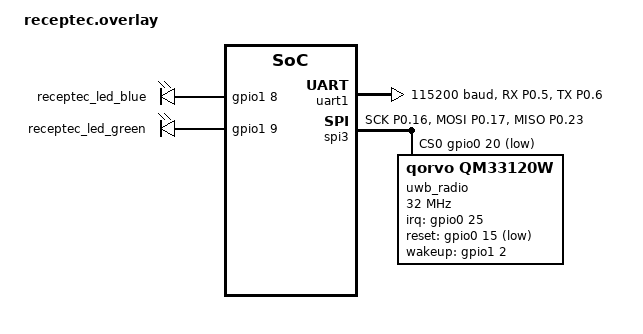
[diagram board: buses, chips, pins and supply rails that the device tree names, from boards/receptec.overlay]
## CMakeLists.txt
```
# SPDX-License-Identifier: Apache-2.0

cmake_minimum_required(VERSION 3.20.0)

list(APPEND BOARD_ROOT ${CMAKE_CURRENT_SOURCE_DIR}/../..)
set(DTC_OVERLAY_FILE "${CMAKE_CURRENT_SOURCE_DIR}/boards/receptec.overlay")

find_package(Zephyr REQUIRED HINTS $ENV{ZEPHYR_BASE})
project(receptec)

target_include_directories(app PRIVATE include)
target_sources(app PRIVATE
    src/main.c
    src/uwb_protocol.c
    src/uwb_peer_registry.c
    src/uwb_peer_storage.c
    src/dw3720_spi.c
    src/uwb_test_result.c
    src/uwb_test_frames.c
    src/uwb_test_payload.c
    src/uwb_radio.c
    src/uwb_shell.c
    ${CMAKE_CURRENT_SOURCE_DIR}/../../vendor/qorvo/deca_interface.c
    ${CMAKE_CURRENT_SOURCE_DIR}/../../vendor/qorvo/deca_compat.c
    ${CMAKE_CURRENT_SOURCE_DIR}/../../vendor/qorvo/deca_rsl.c
    ${CMAKE_CURRENT_SOURCE_DIR}/../../vendor/qorvo/dw3000/dw3000_device.c
    ${CMAKE_CURRENT_SOURCE_DIR}/../../vendor/qorvo/dw3720/dw3720_device.c
    ${CMAKE_CURRENT_SOURCE_DIR}/../../vendor/qorvo/lib/qmath/src/qmath.c
)

target_compile_definitions(app PRIVATE USE_DRV_DW3000 USE_DRV_DW3720)
target_include_directories(app PRIVATE
    ${CMAKE_CURRENT_SOURCE_DIR}/../../vendor/qorvo
    ${CMAKE_CURRENT_SOURCE_DIR}/../../vendor/qorvo/dw3000
    ${CMAKE_CURRENT_SOURCE_DIR}/../../vendor/qorvo/dw3720
    ${CMAKE_CURRENT_SOURCE_DIR}/../../vendor/qorvo/lib/qmath/include
)

set_source_files_properties(
    ${CMAKE_CURRENT_SOURCE_DIR}/../../vendor/qorvo/deca_interface.c
    ${CMAKE_CURRENT_SOURCE_DIR}/../../vendor/qorvo/deca_compat.c
    ${CMAKE_CURRENT_SOURCE_DIR}/../../vendor/qorvo/deca_rsl.c
    ${CMAKE_CURRENT_SOURCE_DIR}/../../vendor/qorvo/dw3000/dw3000_device.c
    ${CMAKE_CURRENT_SOURCE_DIR}/../../vendor/qorvo/dw3720/dw3720_device.c
    ${CMAKE_CURRENT_SOURCE_DIR}/../../vendor/qorvo/lib/qmath/src/qmath.c
    PROPERTIES COMPILE_FLAGS
    "-Wno-unused-parameter -Wno-sign-compare -Wno-missing-field-initializers"
)
```

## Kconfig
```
# SPDX-License-Identifier: Apache-2.0

mainmenu "RECEPTEC firmware"

config RECEPTEC_UWB_RADIO
	bool "Initialize the QM33120W radio and enable UWB peer/SYNC shell"
	default n
	help
	  Initialize the QM33120W/DW3720 over SPI and configure the shared
	  RECEPTEC/COLETEC v1.0 PHY. The `uwb peer` shell commands manage the
	  volatile four-slot software allow-list; `uwb sync <slot>` sends one
	  addressed SYNC and waits for the matching ACK. It does not autostart RF.

source "Kconfig.zephyr"
```

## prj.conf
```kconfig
# SPDX-License-Identifier: Apache-2.0

CONFIG_GPIO=y
CONFIG_SPI=y
CONFIG_HWINFO=y
CONFIG_SERIAL=y
CONFIG_CONSOLE=y
CONFIG_UART_CONSOLE=n
CONFIG_USE_SEGGER_RTT=y
CONFIG_RTT_CONSOLE=y
CONFIG_SHELL=y
CONFIG_SHELL_BACKEND_SERIAL=n
CONFIG_SHELL_BACKEND_RTT=y
CONFIG_PRINTK=y
CONFIG_RECEPTEC_UWB_RADIO=y
CONFIG_MAIN_STACK_SIZE=4096
CONFIG_ENTROPY_GENERATOR=y
CONFIG_FLASH=y
CONFIG_FLASH_MAP=y
CONFIG_FLASH_PAGE_LAYOUT=y
CONFIG_NVS=y
CONFIG_SETTINGS=y
CONFIG_SETTINGS_NVS=y
```

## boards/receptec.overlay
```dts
/* SPDX-License-Identifier: Apache-2.0 */

/* RECEPTEC carrier uses the Murata LBUA5QJ2AB-828 (nRF52840 + QM33120W). */

/* Pi GPIO14/TXD0 -> P0.05 (nRF RX); Pi GPIO15/RXD0 <- P0.06 (nRF TX). */
&gpiote {
	status = "okay";
};

&gpio0 {
	status = "okay";
};

&gpio1 {
	status = "okay";
};

&uart1 {
	status = "okay";
	current-speed = <115200>;
	pinctrl-0 = <&receptec_uart_default>;
	pinctrl-1 = <&receptec_uart_sleep>;
	pinctrl-names = "default", "sleep";
};

/ {
	chosen {
		zephyr,console = &uart1;
		zephyr,shell-uart = &uart1;
	};

	/*
	 * On-board LEDs (Projeto Receptor, sheet 4). Each is switched by a BC847 NPN
	 * transistor whose base is the nRF pin, so the pin drives them active high.
	 */
	leds {
		compatible = "gpio-leds";

		receptec_led_blue: led_blue {
			gpios = <&gpio1 8 GPIO_ACTIVE_HIGH>;
		};

		receptec_led_green: led_green {
			gpios = <&gpio1 9 GPIO_ACTIVE_HIGH>;
		};
	};
};

&pinctrl {
	receptec_uart_default: receptec_uart_default {
		group1 {
			psels = <NRF_PSEL(UART_RX, 0, 5)>,
				<NRF_PSEL(UART_TX, 0, 6)>;
		};
	};

	receptec_uart_sleep: receptec_uart_sleep {
		group1 {
			psels = <NRF_PSEL(UART_RX, 0, 5)>,
				<NRF_PSEL(UART_TX, 0, 6)>;
			low-power-enable;
		};
	};

	receptec_uwb_spi_default: receptec_uwb_spi_default {
		group1 {
			psels = <NRF_PSEL(SPIM_SCK, 0, 16)>,
				<NRF_PSEL(SPIM_MOSI, 0, 17)>,
				<NRF_PSEL(SPIM_MISO, 0, 23)>;
		};
	};

	receptec_uwb_spi_sleep: receptec_uwb_spi_sleep {
		group1 {
			psels = <NRF_PSEL(SPIM_SCK, 0, 16)>,
				<NRF_PSEL(SPIM_MOSI, 0, 17)>,
				<NRF_PSEL(SPIM_MISO, 0, 23)>;
			low-power-enable;
		};
	};
};

&spi2 {
	status = "disabled";
};

&spi3 {
	status = "okay";
	compatible = "nordic,nrf-spim";
	pinctrl-0 = <&receptec_uwb_spi_default>;
	pinctrl-1 = <&receptec_uwb_spi_sleep>;
	pinctrl-names = "default", "sleep";
	cs-gpios = <&gpio0 20 GPIO_ACTIVE_LOW>;

	uwb_radio: qm33120w@0 {
		compatible = "qorvo,qm33120w";
		reg = <0>;
		spi-max-frequency = <32000000>;
		irq-gpios = <&gpio0 25 GPIO_ACTIVE_HIGH>;
		reset-gpios = <&gpio0 15 GPIO_ACTIVE_LOW>;
		wakeup-gpios = <&gpio1 2 GPIO_ACTIVE_HIGH>;
	};
};
```

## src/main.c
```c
/* SPDX-License-Identifier: Apache-2.0 */

#include <zephyr/devicetree.h>
#include <zephyr/drivers/gpio.h>
#include <zephyr/drivers/hwinfo.h>
#include <zephyr/kernel.h>
#include <zephyr/sys/printk.h>

#include <stdint.h>

#include "uwb_radio.h"

/*
 * Blue LED (D300): solid once the firmware has booted. Green LED (D301): toggles
 * from a timer, so it only blinks while the kernel is running; 1 Hz after the UWB
 * radio initialized (or was disabled), 5 Hz if its initialization failed.
 */
static const struct gpio_dt_spec led_blue = GPIO_DT_SPEC_GET(DT_NODELABEL(receptec_led_blue), gpios);
static const struct gpio_dt_spec led_green = GPIO_DT_SPEC_GET(DT_NODELABEL(receptec_led_green), gpios);

static void heartbeat_expired(struct k_timer *timer)
{
	ARG_UNUSED(timer);
	(void)gpio_pin_toggle_dt(&led_green);
}

static K_TIMER_DEFINE(heartbeat_timer, heartbeat_expired, NULL);

static void indicators_start(k_timeout_t half_period)
{
	if (gpio_is_ready_dt(&led_blue) && gpio_is_ready_dt(&led_green) &&
	    gpio_pin_configure_dt(&led_blue, GPIO_OUTPUT_ACTIVE) == 0 &&
	    gpio_pin_configure_dt(&led_green, GPIO_OUTPUT_INACTIVE) == 0) {
		k_timer_start(&heartbeat_timer, half_period, half_period);
	} else {
		printk("Status LEDs unavailable\n");
	}
}

int main(void)
{
	uint8_t id[8];
	k_timeout_t heartbeat = K_MSEC(500);
	ssize_t length = hwinfo_get_device_id(id, sizeof(id));

	printk("RECEPTEC Type2AB baseline\n");
	printk("UARTE1: Pi GPIO14/15, 115200 8N1\n");
	if (length == (ssize_t)sizeof(id)) {
		printk("nRF ID:");
		for (size_t i = 0U; i < sizeof(id); ++i) {
			printk("%s%02X", i == 0U ? " " : ":", id[i]);
		}
		printk("\n");
	} else {
		printk("nRF ID unavailable: %d\n", (int)length);
	}
#if defined(CONFIG_RECEPTEC_UWB_RADIO)
	int ret = receptec_uwb_radio_init();
	if (ret == 0) {
		printk("UWB radio: initialized; use 'uwb peer list' and 'uwb sync <slot>'\n");
	} else {
		printk("UWB radio initialization failed: %d\n", ret);
		heartbeat = K_MSEC(100);
	}
#else
	printk("UWB radio: disabled by configuration\n");
#endif
	indicators_start(heartbeat);
	return 0;
}
```

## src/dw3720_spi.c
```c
/*
 * SPDX-License-Identifier: Apache-2.0
 *
 * DW3720/QM33120W SPI Communication & Porting Layer
 *
 * Phase 1: Device detection via SPI register read.
 * Phase 2A: Full dwt_spi_s porting layer for Qorvo dwt_uwb_driver.
 *
 * Implements the 5 SPI function pointers required by struct dwt_spi_s
 * (deca_interface.h). Initialization uses Zephyr's SPI API. At the configured
 * fast rate, the exclusive UWB owner uses a polling SPIM EasyDMA transfer to
 * avoid a scheduler round trip for each small timing-critical register access.
 * See the UWB_SPIM comment below for why both transports exist.
 */

#include "dw3720_spi.h"
#include <zephyr/kernel.h>
#include <zephyr/device.h>
#include <zephyr/devicetree.h>
#include <zephyr/drivers/spi.h>
#include <zephyr/drivers/gpio.h>
#include <zephyr/sys/printk.h>
#include <zephyr/irq.h>
#include <hal/nrf_spim.h>
#include <string.h>

#include "deca_device_api.h"

/* DW3xxx SPI register addresses */
#define DW3XXX_REG_DEV_ID  0x00  /* Device ID register (4 bytes, read-only) */

/* DW3xxx SPI framing: bit 7 of first byte = R/W (0=read, 1=write) */
#define DW3XXX_SPI_READ    0x00
#define DW3XXX_SPI_WRITE   0x80

/* Reset timing (from Qorvo SDK qplatform_uwb_reset) */
#define RESET_ASSERT_MS    1   /* Hold RESET low for 1ms */
#define RESET_RECOVER_MS   5   /* Wait 5ms after releasing RESET */

/* Max SPI transaction size (header + body). SDK uses up to ~255 bytes. */
#define SPI_BUF_MAX        256

/* SPI frequency definitions */
#define SPI_FREQ_SLOW      2000000U   /* 2 MHz — safe for post-reset (<7 MHz) */
#define SPI_FREQ_FAST      DT_PROP(UWB_NODE, spi_max_frequency)

/* UWB radio child node on the high-speed SPIM bus */
#define UWB_NODE DT_NODELABEL(uwb_radio)

#if DT_NODE_EXISTS(UWB_NODE)

/*
 * Two SPI transports share this file, and both are needed:
 *
 *   - Zephyr's SPI API (spi_transceive/spi_write) for the post-reset window,
 *     where the DW3xxx requires < 7 MHz, and for the pre-init device-ID read.
 *   - polling_spi_transfer(), driving the SPIM registers directly at the DT
 *     fast rate, for the hot path. The UWB slot budget is measured in µs
 *     (see uwb_stats last_irq_to_arm_us), which is why the hot path does not
 *     go through the driver.
 *
 * dw3720_setslowrate()/dw3720_setfastrate() flip between them.
 *
 * The register path used to hardcode NRF_SPIM3, which only worked because the
 * Atletec overlay happens to put the radio on &spi3. Derive it from the DT bus
 * instead, so moving the radio moves the register writes with it.
 */
#define UWB_SPIM ((NRF_SPIM_Type *)DT_REG_ADDR(DT_BUS(UWB_NODE)))

/*
 * The register path programs TXD/RXD.PTR and MAXCNT — EasyDMA, which only the
 * SPIM peripheral has. A radio placed on a legacy "nordic,nrf-spi" bus would
 * compile and then write to reserved addresses.
 */
BUILD_ASSERT(DT_NODE_HAS_COMPAT(DT_BUS(UWB_NODE), nordic_nrf_spim),
	     "UWB radio must sit on a nordic,nrf-spim bus: the polling transport "
	     "drives EasyDMA registers directly.");

/* Common SPI operation flags */
#define SPI_OP_FLAGS (SPI_OP_MODE_CONTROLLER | SPI_WORD_SET(8) | SPI_TRANSFER_MSB)

/*
 * SPI DT spec — MUST be const (Zephyr device refs are compile-time constants).
 * Used directly for Phase 1 detection reads.
 */
static const struct spi_dt_spec spi_dev = SPI_DT_SPEC_GET(
	UWB_NODE,
	SPI_OP_FLAGS
);

/*
 * Runtime copy of SPI config for the porting layer.
 * Initialized from spi_dev.config in dw3720_spi_init(), then frequency
 * can be swapped between slow (SPI_FREQ_SLOW) and fast (SPI_FREQ_FAST, taken
 * from the node's spi-max-frequency — 32 MHz on the Atletec board).
 */
static struct spi_config active_spi_cfg;

/* GPIO specs from devicetree */
static const struct gpio_dt_spec reset_gpio =
	GPIO_DT_SPEC_GET(UWB_NODE, reset_gpios);
static const struct gpio_dt_spec wakeup_gpio =
	GPIO_DT_SPEC_GET(UWB_NODE, wakeup_gpios);
static const struct gpio_dt_spec irq_gpio =
	GPIO_DT_SPEC_GET(UWB_NODE, irq_gpios);
static const struct gpio_dt_spec cs_gpio =
	SPI_CS_GPIOS_DT_SPEC_GET(UWB_NODE);

static struct gpio_callback irq_callback;
static K_SEM_DEFINE(irq_sem, 0, 1);
static volatile uint32_t last_irq_cycles;
static bool gpio_initialized;
static bool polling_spi_enabled;

/* Static TX/RX buffers for SPI transactions (avoid stack allocation) */
static uint8_t spi_tx_buf[SPI_BUF_MAX];
static uint8_t spi_rx_buf[SPI_BUF_MAX];

static int polling_spi_transfer(uint8_t *tx_buffer, uint8_t *rx_buffer,
				uint16_t length)
{
	uint32_t spins = 0U;

	UWB_SPIM->INTENCLR = UINT32_MAX;
	UWB_SPIM->EVENTS_END = 0U;
	UWB_SPIM->TXD.PTR = (uint32_t)(uintptr_t)tx_buffer;
	UWB_SPIM->TXD.MAXCNT = length;
	if (rx_buffer != NULL) {
		UWB_SPIM->RXD.PTR = (uint32_t)(uintptr_t)rx_buffer;
		UWB_SPIM->RXD.MAXCNT = length;
	} else {
		UWB_SPIM->RXD.PTR = 0U;
		UWB_SPIM->RXD.MAXCNT = 0U;
	}
	gpio_pin_set_dt(&cs_gpio, 1);
	__DMB();
	UWB_SPIM->TASKS_START = 1U;
	while (UWB_SPIM->EVENTS_END == 0U) {
		if (++spins >= 100000U) {
			UWB_SPIM->TASKS_STOP = 1U;
			gpio_pin_set_dt(&cs_gpio, 0);
			return -ETIMEDOUT;
		}
	}
	gpio_pin_set_dt(&cs_gpio, 0);
	return 0;
}

static void irq_gpio_handler(const struct device *port,
			     struct gpio_callback *callback,
			     gpio_port_pins_t pins)
{
	ARG_UNUSED(port);
	ARG_UNUSED(callback);
	ARG_UNUSED(pins);

	last_irq_cycles = k_cycle_get_32();
	k_sem_give(&irq_sem);
}

int dw3720_spi_init(void)
{
	int ret;

	if (gpio_initialized) {
		return 0;
	}

	if (!spi_is_ready_dt(&spi_dev)) {
		printk("DW3720: SPI bus not ready\n");
		return -ENODEV;
	}

	/* Copy SPI config from DT spec for runtime frequency switching */
	memcpy(&active_spi_cfg, &spi_dev.config, sizeof(active_spi_cfg));
	active_spi_cfg.frequency = SPI_FREQ_SLOW; /* Start slow (<7 MHz) */
	polling_spi_enabled = false;

	if (!gpio_is_ready_dt(&cs_gpio)) {
		printk("DW3720: CS GPIO not ready\n");
		return -ENODEV;
	}
	ret = gpio_pin_configure_dt(&cs_gpio, GPIO_OUTPUT_INACTIVE);
	if (ret < 0) {
		printk("DW3720: CS GPIO config failed (%d)\n", ret);
		return ret;
	}

	/* Configure RESET as output (initially deasserted = high/inactive) */
	if (!gpio_is_ready_dt(&reset_gpio)) {
		printk("DW3720: RESET GPIO not ready\n");
		return -ENODEV;
	}
	ret = gpio_pin_configure_dt(&reset_gpio, GPIO_OUTPUT_INACTIVE);
	if (ret < 0) {
		printk("DW3720: RESET GPIO config failed (%d)\n", ret);
		return ret;
	}

	/* Configure WAKEUP as output (initially low = not waking) */
	if (!gpio_is_ready_dt(&wakeup_gpio)) {
		printk("DW3720: WAKEUP GPIO not ready\n");
		return -ENODEV;
	}
	ret = gpio_pin_configure_dt(&wakeup_gpio, GPIO_OUTPUT_INACTIVE);
	if (ret < 0) {
		printk("DW3720: WAKEUP GPIO config failed (%d)\n", ret);
		return ret;
	}

	/* Configure IRQ now; the protocol owner enables the edge after radio setup. */
	if (!gpio_is_ready_dt(&irq_gpio)) {
		printk("DW3720: IRQ GPIO not ready\n");
		return -ENODEV;
	}
	ret = gpio_pin_configure_dt(&irq_gpio, GPIO_INPUT);
	if (ret < 0) {
		printk("DW3720: IRQ GPIO config failed (%d)\n", ret);
		return ret;
	}
	ret = gpio_pin_interrupt_configure_dt(&irq_gpio, GPIO_INT_DISABLE);
	if (ret < 0) {
		printk("DW3720: IRQ disable failed (%d)\n", ret);
		return ret;
	}
	k_sem_reset(&irq_sem);
	gpio_init_callback(&irq_callback, irq_gpio_handler, BIT(irq_gpio.pin));
	ret = gpio_add_callback(irq_gpio.port, &irq_callback);
	if (ret < 0) {
		printk("DW3720: IRQ callback failed (%d)\n", ret);
		return ret;
	}

	gpio_initialized = true;
	return 0;
}

int dw3720_hw_reset(void)
{
	if (!gpio_initialized) {
		return -EINVAL;
	}

	/* Assert RESET (active-low: set pin to logical active = drive low) */
	gpio_pin_set_dt(&reset_gpio, 1);
	k_msleep(RESET_ASSERT_MS);

	/* Release RESET (deassert = high-Z / high) */
	gpio_pin_set_dt(&reset_gpio, 0);
	k_msleep(RESET_RECOVER_MS);

	return 0;
}

/**
 * @brief Read a 4-byte register from DW3xxx via SPI
 *
 * DW3xxx fast-command SPI read protocol (short header):
 *   TX: [addr | 0x00]  (1 byte: address with bit7=0 for read)
 *   RX: [dummy][D0][D1][D2][D3]  (1 dummy + 4 data bytes, little-endian)
 */
static int dw3720_spi_read_reg32(uint8_t addr, uint32_t *value)
{
	int ret;

	uint8_t tx_buf[1] = { addr | DW3XXX_SPI_READ };
	uint8_t rx_buf[5] = { 0 };  /* 1 dummy + 4 data bytes */

	const struct spi_buf tx_bufs[] = {
		{ .buf = tx_buf, .len = sizeof(tx_buf) },
	};
	const struct spi_buf rx_bufs[] = {
		{ .buf = rx_buf, .len = sizeof(rx_buf) },
	};

	const struct spi_buf_set tx_set = {
		.buffers = tx_bufs,
		.count = 1,
	};
	const struct spi_buf_set rx_set = {
		.buffers = rx_bufs,
		.count = 1,
	};

	ret = spi_transceive_dt(&spi_dev, &tx_set, &rx_set);
	if (ret < 0) {
		return ret;
	}

	/* Data starts at rx_buf[1] (first byte is clocked during TX phase) */
	*value = (uint32_t)rx_buf[1] |
		 ((uint32_t)rx_buf[2] << 8) |
		 ((uint32_t)rx_buf[3] << 16) |
		 ((uint32_t)rx_buf[4] << 24);

	return 0;
}

int dw3720_read_dev_id(uint32_t *dev_id)
{
	int ret;

	if (!dev_id) {
		return -EINVAL;
	}

	/* Reset chip to known state */
	ret = dw3720_hw_reset();
	if (ret < 0) {
		return ret;
	}

	/* Read Device ID register (address 0x00) */
	ret = dw3720_spi_read_reg32(DW3XXX_REG_DEV_ID, dev_id);
	if (ret < 0) {
		return ret;
	}

	/* Validate: 0x00000000 or 0xFFFFFFFF means no device / SPI fault */
	if (*dev_id == 0x00000000 || *dev_id == 0xFFFFFFFF) {
		return -ENODEV;
	}

	return 0;
}

const char *dw3720_dev_id_str(uint32_t id)
{
	switch (id) {
	case DW3720_DEV_ID_QM33120W:
		return "QM33120W";
	case DW3720_DEV_ID_DW3000P:
		return "DW3000 PDOA";
	case DW3720_DEV_ID_QM33110:
		return "QM33110";
	case DW3720_DEV_ID_DW3000:
		return "DW3000";
	default:
		return "Unknown";
	}
}

/* =============================================================================
 * Qorvo dwt_spi_s Porting Layer
 *
 * These functions implement the 5 function pointers in struct dwt_spi_s
 * from deca_interface.h. The Qorvo driver calls them for all SPI I/O.
 * =============================================================================
 */

/**
 * readfromspi — SDK sends header bytes, expects readlength data bytes back.
 *
 * The SDK provides the SPI header (1-3 bytes) in headerBuffer.
 * We send the header and simultaneously read back (headerLength + readlength)
 * bytes. The read data starts at offset headerLength in the RX buffer.
 *
 * Returns 0 (DWT_SUCCESS) on success, -1 (DWT_ERROR) on failure.
 */
int32_t dw3720_readfromspi(uint16_t headerLength, uint8_t *headerBuffer,
			    uint16_t readlength, uint8_t *readBuffer)
{
	uint32_t total = (uint32_t)headerLength + readlength;

	if (total > SPI_BUF_MAX) {
		return -1; /* DWT_ERROR */
	}

	/* Build TX buffer: header + dummy bytes for the read phase */
	memcpy(spi_tx_buf, headerBuffer, headerLength);
	memset(spi_tx_buf + headerLength, 0x00, readlength);

	int ret;

	if (polling_spi_enabled) {
		ret = polling_spi_transfer(spi_tx_buf, spi_rx_buf, total);
	} else {
		const struct spi_buf tx_bufs[] = {
			{ .buf = spi_tx_buf, .len = total },
		};
		const struct spi_buf rx_bufs[] = {
			{ .buf = spi_rx_buf, .len = total },
		};
		const struct spi_buf_set tx_set = {
			.buffers = tx_bufs,
			.count = 1,
		};
		const struct spi_buf_set rx_set = {
			.buffers = rx_bufs,
			.count = 1,
		};

		ret = spi_transceive(spi_dev.bus, &active_spi_cfg,
				     &tx_set, &rx_set);
	}
	if (ret < 0) {
		return -1; /* DWT_ERROR */
	}

	/* Copy read data (skip the header echo bytes) */
	memcpy(readBuffer, spi_rx_buf + headerLength, readlength);
	return 0; /* DWT_SUCCESS */
}

/**
 * writetospi — SDK sends header + body as one SPI write transaction.
 *
 * Returns 0 (DWT_SUCCESS) on success, -1 (DWT_ERROR) on failure.
 */
int32_t dw3720_writetospi(uint16_t headerLength, const uint8_t *headerBuffer,
			   uint16_t bodyLength, const uint8_t *bodyBuffer)
{
	uint32_t total = (uint32_t)headerLength + bodyLength;

	if (total > SPI_BUF_MAX) {
		return -1;
	}
	if (polling_spi_enabled) {
		memcpy(spi_tx_buf, headerBuffer, headerLength);
		memcpy(spi_tx_buf + headerLength, bodyBuffer, bodyLength);
		return polling_spi_transfer(spi_tx_buf, NULL, total) < 0 ?
			-1 : 0;
	}

	/* Use two SPI buffers in one transaction — no copy needed */
	const struct spi_buf tx_bufs[] = {
		{ .buf = (uint8_t *)headerBuffer, .len = headerLength },
		{ .buf = (uint8_t *)bodyBuffer,   .len = bodyLength },
	};

	const struct spi_buf_set tx_set = { .buffers = tx_bufs, .count = 2 };

	int ret = spi_write(spi_dev.bus, &active_spi_cfg, &tx_set);
	return (ret < 0) ? -1 : 0;
}

/**
 * writetospiwithcrc — Same as writetospi but appends a CRC8 byte.
 *
 * Returns 0 (DWT_SUCCESS) on success, -1 (DWT_ERROR) on failure.
 */
int32_t dw3720_writetospiwithcrc(uint16_t headerLength, const uint8_t *headerBuffer,
				  uint16_t bodyLength, const uint8_t *bodyBuffer,
				  uint8_t crc8)
{
	uint8_t crc_byte = crc8;
	uint32_t total = (uint32_t)headerLength + bodyLength + 1U;

	if (total > SPI_BUF_MAX) {
		return -1;
	}
	if (polling_spi_enabled) {
		memcpy(spi_tx_buf, headerBuffer, headerLength);
		memcpy(spi_tx_buf + headerLength, bodyBuffer, bodyLength);
		spi_tx_buf[headerLength + bodyLength] = crc8;
		return polling_spi_transfer(spi_tx_buf, NULL, total) < 0 ?
			-1 : 0;
	}

	const struct spi_buf tx_bufs[] = {
		{ .buf = (uint8_t *)headerBuffer, .len = headerLength },
		{ .buf = (uint8_t *)bodyBuffer,   .len = bodyLength },
		{ .buf = &crc_byte,               .len = 1 },
	};

	const struct spi_buf_set tx_set = { .buffers = tx_bufs, .count = 3 };

	int ret = spi_write(spi_dev.bus, &active_spi_cfg, &tx_set);
	return (ret < 0) ? -1 : 0;
}

/**
 * setslowrate — Switch SPI to slow rate (2 MHz).
 * Used after reset / before init when DW3xxx requires < 7 MHz.
 */
void dw3720_setslowrate(void)
{
	polling_spi_enabled = false;
	active_spi_cfg.frequency = SPI_FREQ_SLOW;
}

/**
 * setfastrate — Switch SPI to the DeviceTree fast rate.
 * Used after driver init completes for normal operation.
 */
void dw3720_setfastrate(void)
{
	active_spi_cfg.frequency = SPI_FREQ_FAST;
	UWB_SPIM->FREQUENCY = SPIM_FREQUENCY_FREQUENCY_M32;
	UWB_SPIM->INTENCLR = UINT32_MAX;
	polling_spi_enabled = true;
}

/* =============================================================================
 * Platform Helpers
 * =============================================================================
 */

/**
 * Wakeup device by toggling the WAKEUP pin high for ~500us.
 * Called by Qorvo driver (via probe_interf.wakeup_device_with_io).
 */
void wakeup_device_with_io(void)
{
	if (!gpio_initialized) {
		return;
	}
	gpio_pin_set_dt(&wakeup_gpio, 1);
	k_busy_wait(500); /* 500 us */
	gpio_pin_set_dt(&wakeup_gpio, 0);
}

int dw3720_irq_enable(bool enable)
{
	if (!gpio_initialized) {
		return -EACCES;
	}

	return gpio_pin_interrupt_configure_dt(
		&irq_gpio, enable ? GPIO_INT_EDGE_TO_ACTIVE : GPIO_INT_DISABLE);
}

void dw3720_irq_clear(void)
{
	k_sem_reset(&irq_sem);
}

int dw3720_wait_event(k_timeout_t timeout)
{
	int active;

	if (!gpio_initialized) {
		return -EACCES;
	}
	active = gpio_pin_get_dt(&irq_gpio);
	if (active < 0) {
		return active;
	}
	if (active != 0) {
		return 0;
	}
	return k_sem_take(&irq_sem, timeout);
}

void dw3720_wake_owner(void)
{
	k_sem_give(&irq_sem);
}

uint32_t dw3720_last_irq_cycles(void)
{
	return last_irq_cycles;
}

#else /* !DT_NODE_EXISTS(UWB_NODE) */

/* Stubs when UWB radio node is not in devicetree (e.g., DK build) */

int dw3720_spi_init(void)
{
	printk("DW3720: No UWB node in devicetree\n");
	return -ENOTSUP;
}

int dw3720_hw_reset(void)
{
	return -ENOTSUP;
}

int dw3720_read_dev_id(uint32_t *dev_id)
{
	if (dev_id) {
		*dev_id = 0;
	}
	return -ENOTSUP;
}

const char *dw3720_dev_id_str(uint32_t id)
{
	return "Unknown";
}

int32_t dw3720_readfromspi(uint16_t headerLength, uint8_t *headerBuffer,
			    uint16_t readlength, uint8_t *readBuffer)
{
	return -1;
}

int32_t dw3720_writetospi(uint16_t headerLength, const uint8_t *headerBuffer,
			   uint16_t bodyLength, const uint8_t *bodyBuffer)
{
	return -1;
}

int32_t dw3720_writetospiwithcrc(uint16_t headerLength, const uint8_t *headerBuffer,
				  uint16_t bodyLength, const uint8_t *bodyBuffer,
				  uint8_t crc8)
{
	return -1;
}

void dw3720_setslowrate(void) { }
void dw3720_setfastrate(void) { }
void wakeup_device_with_io(void) { }
int dw3720_irq_enable(bool enable)
{
	ARG_UNUSED(enable);
	return -ENOTSUP;
}
void dw3720_irq_clear(void) { }
int dw3720_wait_event(k_timeout_t timeout)
{
	ARG_UNUSED(timeout);
	return -ENOTSUP;
}
void dw3720_wake_owner(void) { }
uint32_t dw3720_last_irq_cycles(void)
{
	return 0U;
}

#endif /* DT_NODE_EXISTS(UWB_NODE) */

/* =============================================================================
 * Platform functions required by Qorvo driver — always compiled
 * =============================================================================
 */

void deca_sleep(unsigned int time_ms)
{
	k_msleep(time_ms);
}

void deca_usleep(unsigned long time_us)
{
	k_busy_wait((uint32_t)time_us);
}

static K_MUTEX_DEFINE(dw_mutex);

decaIrqStatus_t decamutexon(void)
{
	k_mutex_lock(&dw_mutex, K_FOREVER);
	return 0;
}

void decamutexoff(decaIrqStatus_t s)
{
	ARG_UNUSED(s);
	k_mutex_unlock(&dw_mutex);
}
```

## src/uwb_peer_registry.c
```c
/* SPDX-License-Identifier: Apache-2.0 */

#include "uwb_peer_registry.h"

#include <errno.h>
#include <string.h>

int receptec_uwb_peer_registry_init(
	struct receptec_uwb_peer_registry *registry,
	const uint8_t local_eui64[RECEPTEC_UWB_EUI64_SIZE])
{
	if (registry == NULL || local_eui64 == NULL) {
		return -EINVAL;
	}

	memset(registry, 0, sizeof(*registry));
	memcpy(registry->local_eui64, local_eui64,
	       RECEPTEC_UWB_EUI64_SIZE);
	return 0;
}

int receptec_uwb_peer_registry_register(
	struct receptec_uwb_peer_registry *registry, size_t slot,
	const uint8_t eui64[RECEPTEC_UWB_EUI64_SIZE])
{
	size_t i;
	size_t history_slot = RECEPTEC_UWB_PEER_HISTORY_CAPACITY;
	size_t free_history_slot = RECEPTEC_UWB_PEER_HISTORY_CAPACITY;

	if (registry == NULL || eui64 == NULL ||
	    slot >= RECEPTEC_UWB_MAX_PEERS) {
		return -EINVAL;
	}
	if (memcmp(eui64, registry->local_eui64,
		   RECEPTEC_UWB_EUI64_SIZE) == 0) {
		return -EADDRINUSE;
	}
	if (registry->slots[slot].registered) {
		return -EEXIST;
	}
	for (i = 0U; i < RECEPTEC_UWB_MAX_PEERS; ++i) {
		if (registry->slots[i].registered &&
		    memcmp(eui64, registry->slots[i].eui64,
			   RECEPTEC_UWB_EUI64_SIZE) == 0) {
			return -EADDRINUSE;
		}
	}
	for (i = 0U; i < RECEPTEC_UWB_PEER_HISTORY_CAPACITY; ++i) {
		if (!registry->history[i].used) {
			if (free_history_slot == RECEPTEC_UWB_PEER_HISTORY_CAPACITY) {
				free_history_slot = i;
			}
			continue;
		}
		if (memcmp(eui64, registry->history[i].eui64,
			   RECEPTEC_UWB_EUI64_SIZE) == 0) {
			history_slot = i;
			break;
		}
	}
	if (history_slot == RECEPTEC_UWB_PEER_HISTORY_CAPACITY) {
		if (free_history_slot == RECEPTEC_UWB_PEER_HISTORY_CAPACITY) {
			return -ENOSPC;
		}
		history_slot = free_history_slot;
		registry->history[history_slot].used = true;
		registry->history[history_slot].next_sequence = 1U;
		memcpy(registry->history[history_slot].eui64, eui64,
		       RECEPTEC_UWB_EUI64_SIZE);
	}
	memcpy(registry->slots[slot].eui64, eui64,
	       RECEPTEC_UWB_EUI64_SIZE);
	registry->slots[slot].registered = true;
	return 0;
}

int receptec_uwb_peer_registry_unregister(
	struct receptec_uwb_peer_registry *registry, size_t slot)
{
	if (registry == NULL || slot >= RECEPTEC_UWB_MAX_PEERS) {
		return -EINVAL;
	}
	if (!registry->slots[slot].registered) {
		return -ENOENT;
	}

	memset(&registry->slots[slot], 0, sizeof(registry->slots[slot]));
	return 0;
}

int receptec_uwb_peer_registry_get(
	const struct receptec_uwb_peer_registry *registry, size_t slot,
	uint8_t eui64[RECEPTEC_UWB_EUI64_SIZE])
{
	if (registry == NULL || eui64 == NULL ||
	    slot >= RECEPTEC_UWB_MAX_PEERS) {
		return -EINVAL;
	}
	if (!registry->slots[slot].registered) {
		return -ENOENT;
	}

	memcpy(eui64, registry->slots[slot].eui64,
	       RECEPTEC_UWB_EUI64_SIZE);
	return 0;
}

int receptec_uwb_peer_registry_next_sequence(
	struct receptec_uwb_peer_registry *registry, size_t slot,
	uint8_t *sequence)
{
	size_t i;

	if (registry == NULL || sequence == NULL ||
	    slot >= RECEPTEC_UWB_MAX_PEERS) {
		return -EINVAL;
	}
	if (!registry->slots[slot].registered) {
		return -ENOENT;
	}
	for (i = 0U; i < RECEPTEC_UWB_PEER_HISTORY_CAPACITY; ++i) {
		if (registry->history[i].used &&
		    memcmp(registry->history[i].eui64,
			   registry->slots[slot].eui64,
			   RECEPTEC_UWB_EUI64_SIZE) == 0) {
			*sequence = registry->history[i].next_sequence++;
			return 0;
		}
	}
	return -EIO;
}

int receptec_uwb_peer_registry_set_next_sequence(
	struct receptec_uwb_peer_registry *registry, size_t slot,
	uint8_t sequence)
{
	size_t i;

	if (registry == NULL || slot >= RECEPTEC_UWB_MAX_PEERS) {
		return -EINVAL;
	}
	if (!registry->slots[slot].registered) {
		return -ENOENT;
	}
	for (i = 0U; i < RECEPTEC_UWB_PEER_HISTORY_CAPACITY; ++i) {
		if (registry->history[i].used &&
		    memcmp(registry->history[i].eui64,
			   registry->slots[slot].eui64,
			   RECEPTEC_UWB_EUI64_SIZE) == 0) {
			registry->history[i].next_sequence = sequence;
			return 0;
		}
	}
	return -EIO;
}
```

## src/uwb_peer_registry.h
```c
/* SPDX-License-Identifier: Apache-2.0 */

#ifndef RECEPTEC_UWB_PEER_REGISTRY_H_
#define RECEPTEC_UWB_PEER_REGISTRY_H_

#include <stdbool.h>
#include <stddef.h>
#include <stdint.h>

#include <receptec/uwb_protocol.h>

#define RECEPTEC_UWB_MAX_PEERS 4U
#define RECEPTEC_UWB_PEER_HISTORY_CAPACITY 256U

struct receptec_uwb_peer_slot {
	bool registered;
	uint8_t eui64[RECEPTEC_UWB_EUI64_SIZE];
};

struct receptec_uwb_peer_history {
	bool used;
	uint8_t next_sequence;
	uint8_t eui64[RECEPTEC_UWB_EUI64_SIZE];
};

struct receptec_uwb_peer_registry {
	uint8_t local_eui64[RECEPTEC_UWB_EUI64_SIZE];
	struct receptec_uwb_peer_slot slots[RECEPTEC_UWB_MAX_PEERS];
	struct receptec_uwb_peer_history history[
		RECEPTEC_UWB_PEER_HISTORY_CAPACITY];
};

int receptec_uwb_peer_registry_init(
	struct receptec_uwb_peer_registry *registry,
	const uint8_t local_eui64[RECEPTEC_UWB_EUI64_SIZE]);
int receptec_uwb_peer_registry_register(
	struct receptec_uwb_peer_registry *registry, size_t slot,
	const uint8_t eui64[RECEPTEC_UWB_EUI64_SIZE]);
int receptec_uwb_peer_registry_unregister(
	struct receptec_uwb_peer_registry *registry, size_t slot);
int receptec_uwb_peer_registry_get(
	const struct receptec_uwb_peer_registry *registry, size_t slot,
	uint8_t eui64[RECEPTEC_UWB_EUI64_SIZE]);
int receptec_uwb_peer_registry_next_sequence(
	struct receptec_uwb_peer_registry *registry, size_t slot,
	uint8_t *sequence);

#endif /* RECEPTEC_UWB_PEER_REGISTRY_H_ */
```

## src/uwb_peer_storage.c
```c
/* SPDX-License-Identifier: Apache-2.0 */

#include "uwb_peer_storage.h"

#include <errno.h>
#include <stddef.h>

#include <zephyr/settings/settings.h>
#include <zephyr/sys/printk.h>

#define PEER_KEY_MAX_LEN 20U

static int make_peer_key(uint8_t slot, char key[PEER_KEY_MAX_LEN])
{
	int len;

	if (slot >= RECEPTEC_UWB_MAX_PEERS) {
		return -EINVAL;
	}

	len = snprintk(key, PEER_KEY_MAX_LEN,
		      "uwb/peer/%u", slot);

	if (len <= 0 || len >= (int)PEER_KEY_MAX_LEN) {
		return -ENOSPC;
	}

	return 0;
}

int receptec_uwb_peer_storage_init(void)
{
	return settings_subsys_init();
}

int receptec_uwb_peer_storage_load(
	uint8_t slot,
	uint8_t eui64[RECEPTEC_UWB_EUI64_SIZE])
{
	char key[PEER_KEY_MAX_LEN];
	ssize_t len;
	int ret;

	if (eui64 == NULL) {
		return -EINVAL;
	}

	ret = make_peer_key(slot, key);
	if (ret < 0) {
		return ret;
	}

	/*
	 * settings_get_val_len() retorna 0 quando a chave
	 * não existe.
	 */
	len = settings_get_val_len(key);

	if (len < 0) {
		return (int)len;
	}

	if (len == 0) {
		return -ENOENT;
	}

	if (len != RECEPTEC_UWB_EUI64_SIZE) {
		return -EINVAL;
	}

	len = settings_load_one(
		key,
		eui64,
		RECEPTEC_UWB_EUI64_SIZE);

	if (len < 0) {
		return (int)len;
	}

	if (len != RECEPTEC_UWB_EUI64_SIZE) {
		return -EIO;
	}

	return 0;
}

int receptec_uwb_peer_storage_save(
	uint8_t slot,
	const uint8_t eui64[RECEPTEC_UWB_EUI64_SIZE])
{
	char key[PEER_KEY_MAX_LEN];
	int ret;

	if (eui64 == NULL) {
		return -EINVAL;
	}

	ret = make_peer_key(slot, key);
	if (ret < 0) {
		return ret;
	}

	return settings_save_one(
		key,
		eui64,
		RECEPTEC_UWB_EUI64_SIZE);
}

int receptec_uwb_peer_storage_delete(uint8_t slot)
{
	char key[PEER_KEY_MAX_LEN];
	int ret;

	ret = make_peer_key(slot, key);
	if (ret < 0) {
		return ret;
	}

	return settings_delete(key);
}
```

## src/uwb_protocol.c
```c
/* SPDX-License-Identifier: Apache-2.0 */

#include <receptec/uwb_protocol.h>

#include <string.h>

#define DESTINATION_OFFSET 3U
#define SOURCE_OFFSET 11U
#define TYPE_OFFSET 19U

static int validate_payload(enum receptec_uwb_packet_type type,
			    size_t payload_length)
{
	switch (type) {
	case RECEPTEC_UWB_DATA_REQ:
	case RECEPTEC_UWB_SYNC:
		return payload_length == RECEPTEC_UWB_DT_SAMPLING_SIZE ?
			RECEPTEC_UWB_OK : RECEPTEC_UWB_ERR_LENGTH;
	case RECEPTEC_UWB_DATA:
		return payload_length <= RECEPTEC_UWB_MAX_PAYLOAD_SIZE ?
			RECEPTEC_UWB_OK : RECEPTEC_UWB_ERR_LENGTH;
	case RECEPTEC_UWB_ACK:
	case RECEPTEC_UWB_STOP:
	case RECEPTEC_UWB_STOP_ACK:
		return payload_length == 0U ? RECEPTEC_UWB_OK :
			RECEPTEC_UWB_ERR_LENGTH;
	default:
		return RECEPTEC_UWB_ERR_TYPE;
	}
}

int receptec_uwb_encode(uint8_t *output, size_t output_capacity,
			 const struct receptec_uwb_frame *frame,
			 size_t *encoded_length)
{
	size_t logical_length;
	int status;

	if (output == NULL || frame == NULL || encoded_length == NULL) {
		return RECEPTEC_UWB_ERR_ARGUMENT;
	}
	status = validate_payload(frame->type, frame->payload_length);
	if (status != RECEPTEC_UWB_OK) {
		return status;
	}
	if (frame->payload_length != 0U && frame->payload == NULL) {
		return RECEPTEC_UWB_ERR_ARGUMENT;
	}
	logical_length = RECEPTEC_UWB_HEADER_SIZE + frame->payload_length;
	if (output_capacity < logical_length) {
		return RECEPTEC_UWB_ERR_BUFFER_TOO_SMALL;
	}

	output[0] = RECEPTEC_UWB_FCF_LSB;
	output[1] = RECEPTEC_UWB_FCF_MSB;
	output[2] = frame->sequence;
	memcpy(&output[DESTINATION_OFFSET], frame->destination,
	       RECEPTEC_UWB_EUI64_SIZE);
	memcpy(&output[SOURCE_OFFSET], frame->source, RECEPTEC_UWB_EUI64_SIZE);
	output[TYPE_OFFSET] = (uint8_t)frame->type;
	if (frame->payload_length != 0U) {
		memcpy(&output[RECEPTEC_UWB_HEADER_SIZE], frame->payload,
		       frame->payload_length);
	}
	*encoded_length = logical_length;
	return RECEPTEC_UWB_OK;
}

int receptec_uwb_decode(const uint8_t *input, size_t input_length,
			 struct receptec_uwb_frame *frame)
{
	uint8_t type_byte;
	size_t payload_length;
	int status;

	if (input == NULL || frame == NULL) {
		return RECEPTEC_UWB_ERR_ARGUMENT;
	}
	if (input_length < RECEPTEC_UWB_HEADER_SIZE ||
	    input_length > RECEPTEC_UWB_MAX_LOGICAL_SIZE) {
		return RECEPTEC_UWB_ERR_LENGTH;
	}
	if (input[0] != RECEPTEC_UWB_FCF_LSB || input[1] != RECEPTEC_UWB_FCF_MSB) {
		return RECEPTEC_UWB_ERR_FCF;
	}
	type_byte = input[TYPE_OFFSET];
	if ((type_byte & 0xF0U) != 0U) {
		return RECEPTEC_UWB_ERR_RESERVED;
	}
	payload_length = input_length - RECEPTEC_UWB_HEADER_SIZE;
	status = validate_payload((enum receptec_uwb_packet_type)type_byte,
				  payload_length);
	if (status != RECEPTEC_UWB_OK) {
		return status;
	}

	frame->sequence = input[2];
	memcpy(frame->destination, &input[DESTINATION_OFFSET],
	       RECEPTEC_UWB_EUI64_SIZE);
	memcpy(frame->source, &input[SOURCE_OFFSET], RECEPTEC_UWB_EUI64_SIZE);
	frame->type = (enum receptec_uwb_packet_type)type_byte;
	frame->payload = &input[RECEPTEC_UWB_HEADER_SIZE];
	frame->payload_length = payload_length;
	return RECEPTEC_UWB_OK;
}

bool receptec_uwb_ack_matches(
	const struct receptec_uwb_frame *frame,
	const uint8_t peer_eui64[RECEPTEC_UWB_EUI64_SIZE],
	const uint8_t local_eui64[RECEPTEC_UWB_EUI64_SIZE],
	uint8_t expected_sequence)
{
	return frame != NULL && peer_eui64 != NULL && local_eui64 != NULL &&
	       frame->type == RECEPTEC_UWB_ACK &&
	       frame->payload_length == 0U &&
	       frame->sequence == expected_sequence &&
	       memcmp(frame->source, peer_eui64, RECEPTEC_UWB_EUI64_SIZE) == 0 &&
	       memcmp(frame->destination, local_eui64,
		      RECEPTEC_UWB_EUI64_SIZE) == 0;
}

bool receptec_uwb_type_is_request(enum receptec_uwb_packet_type type)
{
	return type == RECEPTEC_UWB_DATA_REQ || type == RECEPTEC_UWB_SYNC ||
	       type == RECEPTEC_UWB_STOP;
}

int receptec_uwb_expected_response(enum receptec_uwb_packet_type request,
				   enum receptec_uwb_packet_type *response)
{
	if (response == NULL) {
		return RECEPTEC_UWB_ERR_ARGUMENT;
	}
	switch (request) {
	case RECEPTEC_UWB_DATA_REQ:
		*response = RECEPTEC_UWB_DATA;
		return RECEPTEC_UWB_OK;
	case RECEPTEC_UWB_SYNC:
		*response = RECEPTEC_UWB_ACK;
		return RECEPTEC_UWB_OK;
	case RECEPTEC_UWB_STOP:
		*response = RECEPTEC_UWB_STOP_ACK;
		return RECEPTEC_UWB_OK;
	default:
		return RECEPTEC_UWB_ERR_TYPE;
	}
}

void receptec_uwb_encode_dt_sampling(
	uint16_t dt_sampling_us,
	uint8_t output[RECEPTEC_UWB_DT_SAMPLING_SIZE])
{
	output[0] = (uint8_t)(dt_sampling_us & 0xFFU);
	output[1] = (uint8_t)(dt_sampling_us >> 8);
}

uint16_t receptec_uwb_decode_dt_sampling(
	const uint8_t input[RECEPTEC_UWB_DT_SAMPLING_SIZE])
{
	return (uint16_t)input[0] | ((uint16_t)input[1] << 8);
}
```

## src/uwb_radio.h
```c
/* SPDX-License-Identifier: Apache-2.0 */

#ifndef RECEPTEC_UWB_RADIO_H_
#define RECEPTEC_UWB_RADIO_H_

#include <stdbool.h>
#include <stddef.h>
#include <stdint.h>

#include "uwb_peer_registry.h"

int receptec_uwb_radio_init(void);
int receptec_uwb_peer_register(uint8_t slot,
			       const uint8_t eui64[RECEPTEC_UWB_EUI64_SIZE]);
int receptec_uwb_peer_unregister(uint8_t slot);
int receptec_uwb_peer_get(uint8_t slot,
			  uint8_t eui64[RECEPTEC_UWB_EUI64_SIZE]);
int receptec_uwb_radio_send_sync(uint8_t peer_slot);
/* Bench A/B: switch the external receive LNA (GPIO5) on or off. */
int receptec_uwb_radio_set_lna(bool enable);

struct receptec_uwb_poll_peer_stats {
	uint32_t transactions;
	uint32_t completed;
	uint32_t completed_on_attempt[3];
	uint32_t attempts;
	uint32_t timeouts;
	uint32_t rx_errors;
	uint32_t bad_frames;
	uint32_t late_schedules;
	uint32_t exhausted;
	uint64_t payload_bytes;
	uint32_t sample_gaps;
	uint32_t last_sample;
	bool have_sample;
};

struct receptec_uwb_poll_status {
	bool running;
	uint32_t period_us;
	uint32_t cycles;
	uint32_t overruns;
	int64_t started_ms;
	int64_t stopped_ms;
	struct receptec_uwb_poll_peer_stats peer[RECEPTEC_UWB_MAX_PEERS];
};

/* Poll every registered peer with DATA_REQ once per period_ms. */
int receptec_uwb_poll_start(uint32_t period_ms);
int receptec_uwb_poll_stop(void);
void receptec_uwb_poll_get(struct receptec_uwb_poll_status *out);
/* Print every received DATA payload as one `DATA slot=..` line. */
void receptec_uwb_poll_stream(bool enable);
/* Latest DATA payload of a peer; -ENODATA until one has arrived. */
int receptec_uwb_poll_last(uint8_t slot, uint8_t *payload, size_t capacity,
			   size_t *length, uint32_t *count, uint32_t *age_ms);

#endif /* RECEPTEC_UWB_RADIO_H_ */
```
